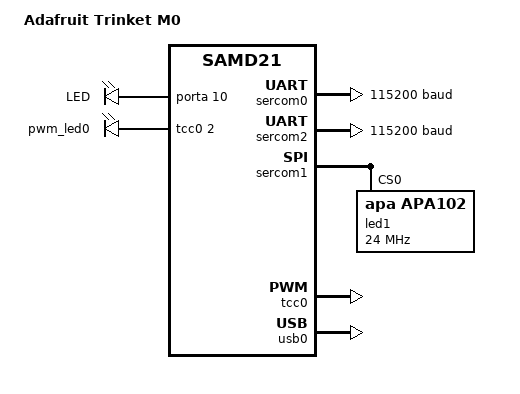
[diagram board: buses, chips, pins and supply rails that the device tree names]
/*
 * Copyright (c) 2018 Google LLC.
 *
 * SPDX-License-Identifier: Apache-2.0
 */

/dts-v1/;
#include <atmel/samd21.dtsi>
#include <atmel/samx2xx18.dtsi>
#include "adafruit_trinket_m0-pinctrl.dtsi"
#include <zephyr/dt-bindings/led/led.h>

/ {
	compatible = "adafruit,trinket-m0", "atmel,samd21e18a", "atmel,samd21";
	model = "Adafruit Trinket M0";

	chosen {
		zephyr,console = &sercom0;
		zephyr,shell-uart = &sercom0;
		zephyr,sram = &sram0;
		zephyr,flash = &flash0;
		zephyr,code-partition = &code_partition;
	};

	/* These aliases are provided for compatibility with samples */
	aliases {
		led0 = &led0;
		pwm-led0 = &pwm_led0;
		led-strip = &led1;
	};

	leds {
		compatible = "gpio-leds";

		led0: led_0 {
			gpios = <&porta 10 0>;
			label = "LED";
		};
	};

	pwmleds {
		compatible = "pwm-leds";

		pwm_led0: pwm_led_0 {
			pwms = <&tcc0 2 PWM_MSEC(20)>;
		};
	};
};

&cpu0 {
	clock-frequency = <48000000>;
};

&sercom0 {
	compatible = "atmel,sam0-uart";
	current-speed = <115200>;
	rxpo = <3>;
	txpo = <1>;

	pinctrl-0 = <&sercom0_uart_default>;
	pinctrl-names = "default";
	status = "okay";
};

&sercom2 {
	compatible = "atmel,sam0-uart";
	current-speed = <115200>;
	rxpo = <1>;
	txpo = <0>;

	pinctrl-0 = <&sercom2_uart_default>;
	pinctrl-names = "default";
	status = "okay";
};

/* Drives the on-board DotStar LED */
&sercom1 {
	compatible = "atmel,sam0-spi";
	dipo = <2>;
	dopo = <0>;
	#address-cells = <1>;
	#size-cells = <0>;

	pinctrl-0 = <&sercom1_spi_default>;
	pinctrl-names = "default";
	status = "okay";

	led1: apa102@0 {
		compatible = "apa,apa102";
		reg = <0>;
		spi-max-frequency = <24000000>;
		chain-length = <1>;
		color-mapping = <LED_COLOR_ID_BLUE
				 LED_COLOR_ID_GREEN
				 LED_COLOR_ID_RED>;
	};
};

&tcc0 {
	compatible = "atmel,sam0-tcc-pwm";
	/* Gives a maximum period of 1.4 s */
	prescaler = <4>;
	#pwm-cells = <2>;

	pinctrl-0 = <&pwm_default>;
	pinctrl-names = "default";
	status = "okay";
};

&flash0 {
	partitions {
		compatible = "fixed-partitions";
		#address-cells = <1>;
		#size-cells = <1>;

		boot_partition: partition@0 {
			reg = <0x00000000 0x2000>;
			label = "uf2";
			read-only;
		};

		code_partition: partition@2000 {
			reg = <0x2000 0x3A000>;
			label = "code";
			read-only;
		};

		/*
		 * The final 16 KiB is reserved for the application.
		 * Storage partition will be used by FCB/LittleFS/NVS
		 * if enabled.
		 */
		storage_partition: partition@3c000 {
			reg = <0x0003c000 0x00004000>;
			label = "storage";
		};
	};
};

zephyr_udc0: &usb0 {
	pinctrl-0 = <&usb_dc_default>;
	pinctrl-names = "default";
	status = "okay";
};
